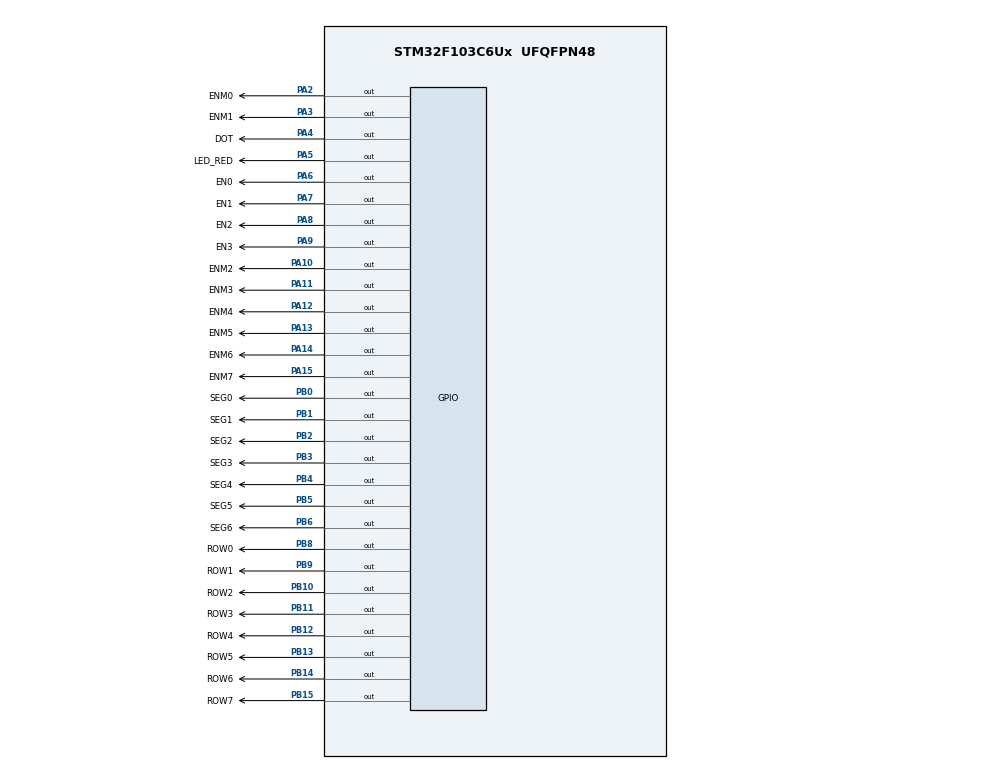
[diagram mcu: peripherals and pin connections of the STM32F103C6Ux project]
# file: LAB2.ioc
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Mcu.Family=STM32F1
Mcu.Name=STM32F103C6Ux
Mcu.Package=UFQFPN48
NVIC.PriorityGroup=NVIC_PRIORITYGROUP_4
NVIC.TIM2_IRQn=true\:0\:0\:false\:false\:true\:true\:true
PA10.GPIO_Label=ENM2
PA10.Signal=GPIO_Output
PA11.GPIO_Label=ENM3
PA11.Signal=GPIO_Output
PA12.GPIO_Label=ENM4
PA12.Signal=GPIO_Output
PA13.GPIO_Label=ENM5
PA13.Signal=GPIO_Output
PA14.GPIO_Label=ENM6
PA14.Signal=GPIO_Output
PA15.GPIO_Label=ENM7
PA15.Signal=GPIO_Output
PA2.GPIO_Label=ENM0
PA2.Signal=GPIO_Output
PA3.GPIO_Label=ENM1
PA3.Signal=GPIO_Output
PA4.GPIO_Label=DOT
PA4.Signal=GPIO_Output
PA5.GPIO_Label=LED_RED
PA5.Signal=GPIO_Output
PA6.GPIO_Label=EN0
PA6.Signal=GPIO_Output
PA7.GPIO_Label=EN1
PA7.Signal=GPIO_Output
PA8.GPIO_Label=EN2
PA8.Signal=GPIO_Output
PA9.GPIO_Label=EN3
PA9.Signal=GPIO_Output
PB0.GPIO_Label=SEG0
PB0.Signal=GPIO_Output
PB1.GPIO_Label=SEG1
PB1.Signal=GPIO_Output
PB10.GPIO_Label=ROW2
PB10.Signal=GPIO_Output
PB11.GPIO_Label=ROW3
PB11.Signal=GPIO_Output
PB12.GPIO_Label=ROW4
PB12.Signal=GPIO_Output
PB13.GPIO_Label=ROW5
PB13.Signal=GPIO_Output
PB14.GPIO_Label=ROW6
PB14.Signal=GPIO_Output
PB15.GPIO_Label=ROW7
PB15.Signal=GPIO_Output
PB2.GPIO_Label=SEG2
PB2.Signal=GPIO_Output
PB3.GPIO_Label=SEG3
PB3.Signal=GPIO_Output
PB4.GPIO_Label=SEG4
PB4.Signal=GPIO_Output
PB5.GPIO_Label=SEG5
PB5.Signal=GPIO_Output
PB6.GPIO_Label=SEG6
PB6.Signal=GPIO_Output
PB8.GPIO_Label=ROW0
PB8.Signal=GPIO_Output
PB9.GPIO_Label=ROW1
PB9.Signal=GPIO_Output
ProjectManager.HeapSize=0x200
ProjectManager.StackSize=0x400
ProjectManager.TargetToolchain=STM32CubeIDE
RCC.APB1Freq_Value=8000000
RCC.APB2Freq_Value=8000000
TIM2.Period=9
TIM2.Prescaler=7999
VP_SYS_VS_ND.Mode=No_Debug
VP_TIM2_VS_ClockSourceINT.Mode=Internal
board=custom

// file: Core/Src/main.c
/* USER CODE BEGIN Header */
/**
  ******************************************************************************
  * @file           : main.c
  * @brief          : Main program body
  ******************************************************************************
  * @attention
  *
  * <h2><center>&copy; Copyright (c) 2024 STMicroelectronics.
  * All rights reserved.</center></h2>
  *
  * This software component is licensed by ST under BSD 3-Clause license,
  * the "License"; You may not use this file except in compliance with the
  * License. You may obtain a copy of the License at:
  *                        opensource.org/licenses/BSD-3-Clause
  *
  ******************************************************************************
  */
/* USER CODE END Header */
#include <control_clock_buffer.h>
#include <control_led_7SEG.h>
#include "main.h"

/* USER CODE BEGIN Includes */
#include "software_timer.h"
#include "clock.h"
#include "global.h"
/* USER CODE END Includes */

TIM_HandleTypeDef htim2;

void SystemClock_Config(void);
static void MX_TIM2_Init(void);
static void MX_GPIO_Init(void);

int main(void)
{

  /* MCU Configuration--------------------------------------------------------*/

  /* Reset of all peripherals, Initializes the Flash interface and the Systick. */
  HAL_Init();

  /* Configure the system clock */
  SystemClock_Config();

  /* Initialize all configured peripherals */
  MX_TIM2_Init();
  MX_GPIO_Init();
  /* USER CODE BEGIN 2 */
  HAL_TIM_Base_Start_IT(&htim2);
  /* USER CODE END 2 */

  /* Infinite loop */
  /* USER CODE BEGIN WHILE */
   setTimer1(1000);
   setTimer2(1000);
   setTimer3(1000);
  while (1)
  {
    /* USER CODE END WHILE */

    /* USER CODE BEGIN 3 */
	  if(timer3_flag == 1)
	 	  {
	 		  HAL_GPIO_TogglePin(LED_RED_GPIO_Port, LED_RED_Pin);
	 		  HAL_GPIO_TogglePin(DOT_GPIO_Port, DOT_Pin);
	 		  setTimer3(1000);
	 	  }

	  if(timer1_flag == 1)
	 	  {
	 		  clock();
	 		  updateClockBuffer();
	 		  setTimer1(1000);
	 	  }

	  if(timer2_flag == 1)
	 	  {
	 		  update7SEG(index_led++);
	 		  if(index_led == MAX_LED) index_led = 0;
	 		  setTimer2(250);
	 	  }
  }
  /* USER CODE END 3 */
}

void SystemClock_Config(void)
{
  RCC_OscInitTypeDef RCC_OscInitStruct = {0};
  RCC_ClkInitTypeDef RCC_ClkInitStruct = {0};

  /** Initializes the RCC Oscillators according to the specified parameters
  * in the RCC_OscInitTypeDef structure.
  */
  RCC_OscInitStruct.OscillatorType = RCC_OSCILLATORTYPE_HSI;
  RCC_OscInitStruct.HSIState = RCC_HSI_ON;
  RCC_OscInitStruct.HSICalibrationValue = RCC_HSICALIBRATION_DEFAULT;
  RCC_OscInitStruct.PLL.PLLState = RCC_PLL_NONE;
  if (HAL_RCC_OscConfig(&RCC_OscInitStruct) != HAL_OK)
  {
    Error_Handler();
  }
  /** Initializes the CPU, AHB and APB buses clocks
  */
  RCC_ClkInitStruct.ClockType = RCC_CLOCKTYPE_HCLK|RCC_CLOCKTYPE_SYSCLK
                              |RCC_CLOCKTYPE_PCLK1|RCC_CLOCKTYPE_PCLK2;
  RCC_ClkInitStruct.SYSCLKSource = RCC_SYSCLKSOURCE_HSI;
  RCC_ClkInitStruct.AHBCLKDivider = RCC_SYSCLK_DIV1;
  RCC_ClkInitStruct.APB1CLKDivider = RCC_HCLK_DIV1;
  RCC_ClkInitStruct.APB2CLKDivider = RCC_HCLK_DIV1;

  if (HAL_RCC_ClockConfig(&RCC_ClkInitStruct, FLASH_LATENCY_0) != HAL_OK)
  {
    Error_Handler();
  }
}

static void MX_TIM2_Init(void)
{

  TIM_ClockConfigTypeDef sClockSourceConfig = {0};
  TIM_MasterConfigTypeDef sMasterConfig = {0};

  htim2.Instance = TIM2;
  htim2.Init.Prescaler = 7999;
  htim2.Init.CounterMode = TIM_COUNTERMODE_UP;
  htim2.Init.Period = 9;
  htim2.Init.ClockDivision = TIM_CLOCKDIVISION_DIV1;
  htim2.Init.AutoReloadPreload = TIM_AUTORELOAD_PRELOAD_DISABLE;
  if (HAL_TIM_Base_Init(&htim2) != HAL_OK)
  {
    Error_Handler();
  }
  sClockSourceConfig.ClockSource = TIM_CLOCKSOURCE_INTERNAL;
  if (HAL_TIM_ConfigClockSource(&htim2, &sClockSourceConfig) != HAL_OK)
  {
    Error_Handler();
  }
  sMasterConfig.MasterOutputTrigger = TIM_TRGO_RESET;
  sMasterConfig.MasterSlaveMode = TIM_MASTERSLAVEMODE_DISABLE;
  if (HAL_TIMEx_MasterConfigSynchronization(&htim2, &sMasterConfig) != HAL_OK)
  {
    Error_Handler();
  }

}

static void MX_GPIO_Init(void)
{
  GPIO_InitTypeDef GPIO_InitStruct = {0};

  /* GPIO Ports Clock Enable */
  __HAL_RCC_GPIOA_CLK_ENABLE();
  __HAL_RCC_GPIOB_CLK_ENABLE();

  /*Configure GPIO pin Output Level */
  HAL_GPIO_WritePin(GPIOA, DOT_Pin|LED_RED_Pin|EN0_Pin|EN1_Pin
                          |EN2_Pin|EN3_Pin, GPIO_PIN_RESET);

  /*Configure GPIO pin Output Level */
  HAL_GPIO_WritePin(GPIOB, SEG0_Pin|SEG1_Pin|SEG2_Pin|SEG3_Pin
                          |SEG4_Pin|SEG5_Pin|SEG6_Pin, GPIO_PIN_RESET);

  /*Configure GPIO pins : DOT_Pin LED_RED_Pin EN0_Pin EN1_Pin
                           EN2_Pin EN3_Pin */
  GPIO_InitStruct.Pin = DOT_Pin|LED_RED_Pin|EN0_Pin|EN1_Pin
                          |EN2_Pin|EN3_Pin;
  GPIO_InitStruct.Mode = GPIO_MODE_OUTPUT_PP;
  GPIO_InitStruct.Pull = GPIO_NOPULL;
  GPIO_InitStruct.Speed = GPIO_SPEED_FREQ_LOW;
  HAL_GPIO_Init(GPIOA, &GPIO_InitStruct);

  /*Configure GPIO pins : SEG0_Pin SEG1_Pin SEG2_Pin SEG3_Pin
                           SEG4_Pin SEG5_Pin SEG6_Pin */
  GPIO_InitStruct.Pin = SEG0_Pin|SEG1_Pin|SEG2_Pin|SEG3_Pin
                          |SEG4_Pin|SEG5_Pin|SEG6_Pin;
  GPIO_InitStruct.Mode = GPIO_MODE_OUTPUT_PP;
  GPIO_InitStruct.Pull = GPIO_NOPULL;
  GPIO_InitStruct.Speed = GPIO_SPEED_FREQ_LOW;
  HAL_GPIO_Init(GPIOB, &GPIO_InitStruct);

}

/* USER CODE BEGIN 4 */
HAL_TIM_PeriodElapsedCallback(TIM_HandleTypeDef *htim)
{
	timerRun();
}
/* USER CODE END 4 */

void Error_Handler(void)
{
  __disable_irq();
  while (1)
  {
  }
}

/************************ (C) COPYRIGHT STMicroelectronics *****END OF FILE****/
